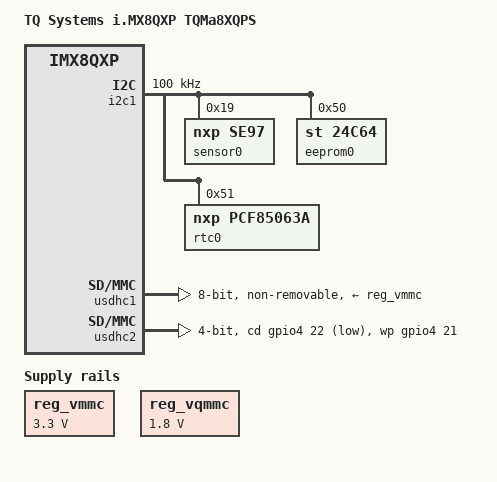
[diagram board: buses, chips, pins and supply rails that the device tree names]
// SPDX-License-Identifier: GPL-2.0+
/*
 * Copyright 2018 - 2020 TQ Systems GmbH
 */

#include "fsl-imx8qxp.dtsi"

/ {
	model = "TQ Systems i.MX8QXP TQMa8XQPS";
	compatible = "tq,tqma8xqps", "fsl,imx8qxp";

	reg_vmmc: regulator-vmmc {
		compatible = "regulator-fixed";
		regulator-name = "MMC0_3V3";
		regulator-min-microvolt = <3300000>;
		regulator-max-microvolt = <3300000>;
		regulator-always-on;
	};

	reg_vqmmc: regulator-vqmmc {
		compatible = "regulator-fixed";
		regulator-name = "MMC0_1V8";
		regulator-min-microvolt = <1800000>;
		regulator-max-microvolt = <1800000>;
		regulator-always-on;
	};

};

&iomuxc {
	pinctrl_lpuart0: lpuart0grp {
		fsl,pins = <
			SC_P_UART0_RX_ADMA_UART0_RX	0x06000020
			SC_P_UART0_TX_ADMA_UART0_TX	0x06000020
		>;
	};

	pinctrl_lpi2c1: lpi2c1grp {
		fsl,pins = <
			SC_P_MIPI_DSI0_GPIO0_00_ADMA_I2C1_SCL	0x06000020
			SC_P_MIPI_DSI0_GPIO0_01_ADMA_I2C1_SDA	0x06000020
		>;
	};

	pinctrl_usdhc1: usdhc1grp {
		fsl,pins = <
			SC_P_EMMC0_CLK_CONN_EMMC0_CLK		0x06000041
			SC_P_EMMC0_CMD_CONN_EMMC0_CMD		0x00000021
			SC_P_EMMC0_DATA0_CONN_EMMC0_DATA0	0x00000021
			SC_P_EMMC0_DATA1_CONN_EMMC0_DATA1	0x00000021
			SC_P_EMMC0_DATA2_CONN_EMMC0_DATA2	0x00000021
			SC_P_EMMC0_DATA3_CONN_EMMC0_DATA3	0x00000021
			SC_P_EMMC0_DATA4_CONN_EMMC0_DATA4	0x00000021
			SC_P_EMMC0_DATA5_CONN_EMMC0_DATA5	0x00000021
			SC_P_EMMC0_DATA6_CONN_EMMC0_DATA6	0x00000021
			SC_P_EMMC0_DATA7_CONN_EMMC0_DATA7	0x00000021
			SC_P_EMMC0_STROBE_CONN_EMMC0_STROBE	0x00000041
		>;
	};

	pinctrl_usdhc1_100mhz: usdhc1grp100mhz {
		fsl,pins = <
			SC_P_EMMC0_CLK_CONN_EMMC0_CLK		0x06000040
			SC_P_EMMC0_CMD_CONN_EMMC0_CMD		0x00000020
			SC_P_EMMC0_DATA0_CONN_EMMC0_DATA0	0x00000020
			SC_P_EMMC0_DATA1_CONN_EMMC0_DATA1	0x00000020
			SC_P_EMMC0_DATA2_CONN_EMMC0_DATA2	0x00000020
			SC_P_EMMC0_DATA3_CONN_EMMC0_DATA3	0x00000020
			SC_P_EMMC0_DATA4_CONN_EMMC0_DATA4	0x00000020
			SC_P_EMMC0_DATA5_CONN_EMMC0_DATA5	0x00000020
			SC_P_EMMC0_DATA6_CONN_EMMC0_DATA6	0x00000020
			SC_P_EMMC0_DATA7_CONN_EMMC0_DATA7	0x00000020
			SC_P_EMMC0_STROBE_CONN_EMMC0_STROBE	0x00000040
		>;
	};

	pinctrl_usdhc1_200mhz: usdhc1grp200mhz {
		fsl,pins = <
			SC_P_EMMC0_CLK_CONN_EMMC0_CLK		0x06000040
			SC_P_EMMC0_CMD_CONN_EMMC0_CMD		0x00000020
			SC_P_EMMC0_DATA0_CONN_EMMC0_DATA0	0x00000020
			SC_P_EMMC0_DATA1_CONN_EMMC0_DATA1	0x00000020
			SC_P_EMMC0_DATA2_CONN_EMMC0_DATA2	0x00000020
			SC_P_EMMC0_DATA3_CONN_EMMC0_DATA3	0x00000020
			SC_P_EMMC0_DATA4_CONN_EMMC0_DATA4	0x00000020
			SC_P_EMMC0_DATA5_CONN_EMMC0_DATA5	0x00000020
			SC_P_EMMC0_DATA6_CONN_EMMC0_DATA6	0x00000020
			SC_P_EMMC0_DATA7_CONN_EMMC0_DATA7	0x00000020
			SC_P_EMMC0_STROBE_CONN_EMMC0_STROBE	0x00000040
		>;
	};

	pinctrl_usdhc2_gpio: usdhc2gpiogrp {
		fsl,pins = <
			SC_P_USDHC1_WP_LSIO_GPIO4_IO21		0x00000021
			SC_P_USDHC1_CD_B_LSIO_GPIO4_IO22	0x00000021
		>;
	};

	pinctrl_usdhc2: usdhc2grp {
		fsl,pins = <
			SC_P_USDHC1_CLK_CONN_USDHC1_CLK		0x06000041
			SC_P_USDHC1_CMD_CONN_USDHC1_CMD		0x00000021
			SC_P_USDHC1_DATA0_CONN_USDHC1_DATA0	0x00000021
			SC_P_USDHC1_DATA1_CONN_USDHC1_DATA1	0x00000021
			SC_P_USDHC1_DATA2_CONN_USDHC1_DATA2	0x00000021
			SC_P_USDHC1_DATA3_CONN_USDHC1_DATA3	0x00000021
			SC_P_USDHC1_VSELECT_CONN_USDHC1_VSELECT	0x00000021
		>;
	};

	pinctrl_usdhc2_100mhz: usdhc2grp100mhz {
		fsl,pins = <
			SC_P_USDHC1_CLK_CONN_USDHC1_CLK		0x06000040
			SC_P_USDHC1_CMD_CONN_USDHC1_CMD		0x00000020
			SC_P_USDHC1_DATA0_CONN_USDHC1_DATA0	0x00000020
			SC_P_USDHC1_DATA1_CONN_USDHC1_DATA1	0x00000020
			SC_P_USDHC1_DATA2_CONN_USDHC1_DATA2	0x00000020
			SC_P_USDHC1_DATA3_CONN_USDHC1_DATA3	0x00000020
			SC_P_USDHC1_VSELECT_CONN_USDHC1_VSELECT	0x00000020
		>;
	};

	pinctrl_usdhc2_200mhz: usdhc2grp200mhz {
		fsl,pins = <
			SC_P_USDHC1_CLK_CONN_USDHC1_CLK		0x06000040
			SC_P_USDHC1_CMD_CONN_USDHC1_CMD		0x00000020
			SC_P_USDHC1_DATA0_CONN_USDHC1_DATA0	0x00000020
			SC_P_USDHC1_DATA1_CONN_USDHC1_DATA1	0x00000020
			SC_P_USDHC1_DATA2_CONN_USDHC1_DATA2	0x00000020
			SC_P_USDHC1_DATA3_CONN_USDHC1_DATA3	0x00000020
			SC_P_USDHC1_VSELECT_CONN_USDHC1_VSELECT	0x00000020
		>;
	};
};

&A35_0 {
	u-boot,dm-pre-reloc;
};

&i2c1 {
	#address-cells = <1>;
	#size-cells = <0>;
	clock-frequency = <100000>;
	pinctrl-names = "default";
	pinctrl-0 = <&pinctrl_lpi2c1>;
	status = "okay";

	/* NXP SE97BTP with temperature sensor + eeprom */
	sensor0: tempsensor@19 {
		compatible = "nxp,se97", "jedec,jc-42.4-temp";
		reg = <0x19>;
		status = "okay";
	};

	eeprom0: eeprom@50 {
		compatible = "st,24c64", "atmel,24c64";
		reg = <0x50>;
		pagesize = <32>;
		status = "okay";
	};

	rtc0: rtc@51 {
		compatible = "nxp,pcf85063a";
		reg = <0x51>;
	};
};

&lpuart0 {
	pinctrl-names = "default";
	pinctrl-0 = <&pinctrl_lpuart0>;
};

&usdhc1 {
	pinctrl-names = "default", "state_100mhz", "state_200mhz";
	pinctrl-0 = <&pinctrl_usdhc1>;
	pinctrl-1 = <&pinctrl_usdhc1_100mhz>;
	pinctrl-2 = <&pinctrl_usdhc1_200mhz>;
	vmmc-supply = <&reg_vmmc>;
	vqmmc-supply = <&reg_vqmmc>;
	bus-width = <8>;
	non-removable;
	status = "okay";
};

&usdhc2 {
	pinctrl-names = "default", "state_100mhz", "state_200mhz";
	pinctrl-0 = <&pinctrl_usdhc2>, <&pinctrl_usdhc2_gpio>;
	pinctrl-1 = <&pinctrl_usdhc2_100mhz>, <&pinctrl_usdhc2_gpio>;
	pinctrl-2 = <&pinctrl_usdhc2_200mhz>, <&pinctrl_usdhc2_gpio>;
	bus-width = <4>;
	cd-gpios = <&gpio4 22 GPIO_ACTIVE_LOW>;
	wp-gpios = <&gpio4 21 GPIO_ACTIVE_HIGH>;
};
